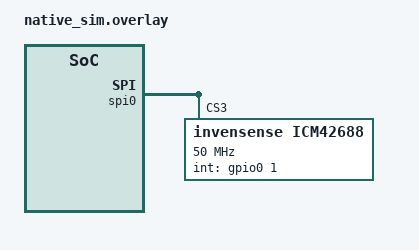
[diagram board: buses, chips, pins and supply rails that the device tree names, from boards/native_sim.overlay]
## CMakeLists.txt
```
# Copyright (c) 2023 Google LLC
# SPDX-License-Identifier: Apache-2.0

cmake_minimum_required(VERSION 3.20.0)
find_package(Zephyr REQUIRED HINTS $ENV{ZEPHYR_BASE})
project(device)

target_sources(app PRIVATE src/main.c)
```

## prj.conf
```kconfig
# Copyright (c) 2023 Google LLC
# SPDX-License-Identifier: Apache-2.0

CONFIG_ZTEST=y

# Enable GPIO
CONFIG_GPIO=y

# Enable sensors
CONFIG_SENSOR=y

# Enable emulation
CONFIG_EMUL=y
```

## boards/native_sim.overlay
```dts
/* Copyright (c) 2023 Google LLC
 * SPDX-License-Identifier: Apache-2.0
 */

&spi0 {
	icm42688: icm42688@3 {
		compatible = "invensense,icm42688";
		int-gpios = <&gpio0 1 GPIO_ACTIVE_HIGH>;
		spi-max-frequency = <50000000>;
		reg = <3>;
	};
};
```

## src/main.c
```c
/*
 * Copyright (c) 2023 Google LLC
 * SPDX-License-Identifier: Apache-2.0
 */

#include <zephyr/device.h>
#include <zephyr/devicetree.h>
#include <zephyr/drivers/emul.h>
#include <zephyr/drivers/gpio.h>
#include <zephyr/drivers/gpio/gpio_emul.h>
#include <zephyr/drivers/sensor.h>
#include <zephyr/fff.h>
#include <zephyr/ztest.h>

#include "icm42688_emul.h"
#include "icm42688_reg.h"

#define NODE DT_NODELABEL(icm42688)

DEFINE_FFF_GLOBALS;

struct icm42688_fixture {
	const struct device *dev;
	const struct emul *target;
};

static void *icm42688_setup(void)
{
	static struct icm42688_fixture fixture = {
		.dev = DEVICE_DT_GET(DT_NODELABEL(icm42688)),
		.target = EMUL_DT_GET(DT_NODELABEL(icm42688)),
	};

	zassert_not_null(fixture.dev);
	zassert_not_null(fixture.target);
	return &fixture;
}

ZTEST_SUITE(icm42688, NULL, icm42688_setup, NULL, NULL, NULL);

ZTEST_F(icm42688, test_fetch_fail_no_ready_data)
{
	uint8_t status = 0;

	icm42688_emul_set_reg(fixture->target, REG_INT_STATUS, &status, 1);
	zassert_equal(-EBUSY, sensor_sample_fetch(fixture->dev));
}

static void test_fetch_temp_mc(const struct icm42688_fixture *fixture, int16_t temperature_mc)
{
	struct sensor_value value;
	int64_t expected_uc;
	int64_t actual_uc;
	int16_t temperature_reg;
	uint8_t buffer[2];

	/* Set the INT_STATUS register to show we have data */
	buffer[0] = BIT_INT_STATUS_DATA_RDY;
	icm42688_emul_set_reg(fixture->target, REG_INT_STATUS, buffer, 1);

	/*
	 * Set the temperature data to 22.5C via:
	 *   reg_val / 132.48 + 25
	 */
	temperature_reg = ((temperature_mc - 25000) * 13248) / 100000;
	buffer[0] = (temperature_reg >> 8) & GENMASK(7, 0);
	buffer[1] = temperature_reg & GENMASK(7, 0);
	icm42688_emul_set_reg(fixture->target, REG_TEMP_DATA1, buffer, 2);

	/* Fetch the data */
	zassert_ok(sensor_sample_fetch(fixture->dev));
	zassert_ok(sensor_channel_get(fixture->dev, SENSOR_CHAN_DIE_TEMP, &value));

	/* Assert data is within 5 milli-C of the tested temperature */
	expected_uc = temperature_mc * INT64_C(1000);
	actual_uc = sensor_value_to_micro(&value);
	zassert_within(expected_uc, actual_uc, INT64_C(5000),
		       "Expected %" PRIi64 "uC, got %" PRIi64 "uC", expected_uc, actual_uc);
}

ZTEST_F(icm42688, test_fetch_temp)
{
	/* Test 22.5C */
	test_fetch_temp_mc(fixture, 22500);
	/* Test -3.175C */
	test_fetch_temp_mc(fixture, -3175);
}

static void test_fetch_accel_with_range(const struct icm42688_fixture *fixture,
					int16_t accel_range_g, const int16_t accel_percent[3])
{
	struct sensor_value values[3];
	int32_t expect_ug;
	int32_t actual_ug;
	uint8_t register_buffer[6];

	/* Se the INT_STATUS register to show we have data */
	register_buffer[0] = BIT_INT_STATUS_DATA_RDY;
	icm42688_emul_set_reg(fixture->target, REG_INT_STATUS, register_buffer, 1);

	/* Set accel range */
	sensor_g_to_ms2(accel_range_g, &values[0]);
	zassert_ok(sensor_attr_set(fixture->dev, SENSOR_CHAN_ACCEL_XYZ, SENSOR_ATTR_FULL_SCALE,
				   &values[0]));

	/* Set the accel data accel_percent * accel_range_g */
	for (int i = 0; i < 3; ++i) {
		register_buffer[i * 2] = (accel_percent[i] >> 8) & GENMASK(7, 0);
		register_buffer[i * 2 + 1] = accel_percent[i] & GENMASK(7, 0);
	}
	icm42688_emul_set_reg(fixture->target, REG_ACCEL_DATA_X1, register_buffer, 6);

	/* Fetch the data */
	zassert_ok(sensor_sample_fetch(fixture->dev));
	zassert_ok(sensor_channel_get(fixture->dev, SENSOR_CHAN_ACCEL_XYZ, values));

	/* Assert the data is within 0.005g (0.05m/s2) */
	actual_ug = sensor_ms2_to_ug(&values[0]);
	expect_ug = (int32_t)(accel_percent[0] * INT64_C(1000000) * accel_range_g / INT16_MAX);
	zassert_within(expect_ug, actual_ug, INT32_C(5000),
		       "Expected %" PRIi32 " ug, got X=%" PRIi32 " ug", expect_ug, actual_ug);

	actual_ug = sensor_ms2_to_ug(&values[1]);
	expect_ug = (int32_t)(accel_percent[1] * INT64_C(1000000) * accel_range_g / INT16_MAX);
	zassert_within(expect_ug, actual_ug, INT32_C(5000),
		       "Expected %" PRIi32 " ug, got X=%" PRIi32 " ug", expect_ug, actual_ug);

	actual_ug = sensor_ms2_to_ug(&values[2]);
	expect_ug = (int32_t)(accel_percent[2] * INT64_C(1000000) * accel_range_g / INT16_MAX);
	zassert_within(expect_ug, actual_ug, INT32_C(5000),
		       "Expected %" PRIi32 " ug, got X=%" PRIi32 " ug", expect_ug, actual_ug);
}

ZTEST_F(icm42688, test_fetch_accel)
{
	/* Use (0.25, -0.33.., 0.91) * range for testing accel values */
	const int16_t accel_percent[3] = {
		INT16_MAX / INT16_C(4),
		INT16_MIN / INT16_C(3),
		(int16_t)((INT16_MAX * INT32_C(91)) / INT32_C(100)),
	};

	test_fetch_accel_with_range(fixture, 2, accel_percent);
	test_fetch_accel_with_range(fixture, 4, accel_percent);
	test_fetch_accel_with_range(fixture, 8, accel_percent);
	test_fetch_accel_with_range(fixture, 16, accel_percent);
}

static void test_fetch_gyro_with_range(const struct icm42688_fixture *fixture, int32_t scale_mdps,
				       const int16_t gyro_percent[3])
{
	/* Set the epsilon to 0.075% of the scale */
	const int32_t epsilon_10udps = scale_mdps * 75 / 1000;
	struct sensor_value values[3];
	int32_t expect_10udps;
	int32_t actual_10udps;
	uint8_t register_buffer[6];

	/* Se the INT_STATUS register to show we have data */
	register_buffer[0] = BIT_INT_STATUS_DATA_RDY;
	icm42688_emul_set_reg(fixture->target, REG_INT_STATUS, register_buffer, 1);

	/* Set gyro range */
	sensor_degrees_to_rad((scale_mdps / 1000) + (scale_mdps % 1000 == 0 ? 0 : 1), &values[0]);
	zassert_ok(sensor_attr_set(fixture->dev, SENSOR_CHAN_GYRO_XYZ, SENSOR_ATTR_FULL_SCALE,
				   &values[0]));

	/* Set the gyro data to gyro_percent */
	for (int i = 0; i < 3; ++i) {
		register_buffer[i * 2] = (gyro_percent[i] >> 8) & GENMASK(7, 0);
		register_buffer[i * 2 + 1] = gyro_percent[i] & GENMASK(7, 0);
	}
	icm42688_emul_set_reg(fixture->target, REG_GYRO_DATA_X1, register_buffer, 6);

	/* Fetch the data */
	zassert_ok(sensor_sample_fetch(fixture->dev));
	zassert_ok(sensor_channel_get(fixture->dev, SENSOR_CHAN_GYRO_XYZ, values));

	/* Assert the data is within 0.5 d/s (0.001 rad/s) */
	actual_10udps = sensor_rad_to_10udegrees(&values[0]);
	expect_10udps = (int32_t)(gyro_percent[0] * INT64_C(100) * scale_mdps / INT16_MAX);
	zassert_within(expect_10udps, actual_10udps, epsilon_10udps,
		       "[scale=%" PRIi32 "md/s] Expected %" PRIi32 " 10ud/s, got %" PRIi32
		       " 10ud/s",
		       scale_mdps, expect_10udps, actual_10udps);

	actual_10udps = sensor_rad_to_10udegrees(&values[1]);
	expect_10udps = (int32_t)(gyro_percent[1] * INT64_C(100) * scale_mdps / INT16_MAX);
	zassert_within(expect_10udps, actual_10udps, epsilon_10udps,
		       "[scale=%" PRIi32 "md/s] Expected %" PRIi32 " 10ud/s, got %" PRIi32
		       " 10ud/s, ",
		       scale_mdps, expect_10udps, actual_10udps);

	actual_10udps = sensor_rad_to_10udegrees(&values[2]);
	expect_10udps = (int32_t)(gyro_percent[2] * INT64_C(100) * scale_mdps / INT16_MAX);
	zassert_within(expect_10udps, actual_10udps, epsilon_10udps,
		       "[scale=%" PRIi32 "md/s] Expected %" PRIi32 " 10ud/s, got %" PRIi32
		       " 10ud/s",
		       scale_mdps, expect_10udps, actual_10udps);
}

ZTEST_F(icm42688, test_fetch_gyro)
{
	/* Use (0.15, 0.68, -0.22) * range for testing gyro values */
	const int16_t gyro_percent[3] = {
		(int16_t)((INT16_MAX * INT32_C(15)) / INT32_C(100)),
		(int16_t)((INT16_MAX * INT32_C(68)) / INT32_C(100)),
		(int16_t)((INT16_MAX * INT32_C(-22)) / INT32_C(100)),
	};

	test_fetch_gyro_with_range(fixture, 2000000, gyro_percent);
	test_fetch_gyro_with_range(fixture, 1000000, gyro_percent);
	test_fetch_gyro_with_range(fixture, 500000, gyro_percent);
	test_fetch_gyro_with_range(fixture, 250000, gyro_percent);
	test_fetch_gyro_with_range(fixture, 125000, gyro_percent);
	test_fetch_gyro_with_range(fixture, 62500, gyro_percent);
	test_fetch_gyro_with_range(fixture, 31250, gyro_percent);
	test_fetch_gyro_with_range(fixture, 15625, gyro_percent);
}

FAKE_VOID_FUNC(test_interrupt_trigger_handler, const struct device*, const struct sensor_trigger*);

ZTEST_F(icm42688, test_interrupt)
{
	const struct gpio_dt_spec spec = GPIO_DT_SPEC_GET(NODE, int_gpios);
	const struct sensor_trigger trigger = {
		.type = SENSOR_TRIG_DATA_READY,
		.chan = SENSOR_CHAN_ALL,
	};

	RESET_FAKE(test_interrupt_trigger_handler);
	sensor_trigger_set(fixture->dev, &trigger, test_interrupt_trigger_handler);

	/* Toggle the GPIO */
	gpio_emul_input_set(spec.port, spec.pin, 0);
	k_msleep(5);
	gpio_emul_input_set(spec.port, spec.pin, 1);
	k_msleep(5);

	/* Verify the handler was called */
	zassert_equal(test_interrupt_trigger_handler_fake.call_count, 1);
}
```
